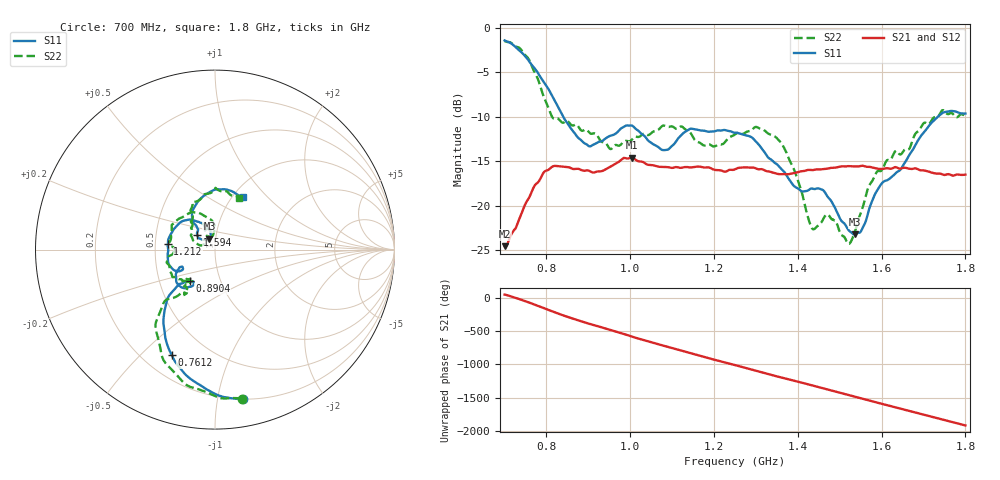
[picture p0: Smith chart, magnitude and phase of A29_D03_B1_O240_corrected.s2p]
! Created with skrf 1.9.0 (http://scikit-rf.org).
# Hz S RI R 50.0
!freq ReS11 ImS11 ReS21 ImS21 ReS12 ImS12 ReS22 ImS22
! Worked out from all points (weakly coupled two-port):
!   1601 points, 700 MHz to 1.8 GHz, reference 50 ohm
!   highest |S21| = -14.59 dB at 1.005 GHz (marker M1); lowest = -24.6 dB at 701.4 MHz (marker M2)
!   lowest |S11| = -23.2 dB at 1.535 GHz (marker M3), VSWR 1.15, Z = 46.6 + j5.76 ohm
!   |S11| at or under -10 dB: 839.8 MHz to 1.734 GHz (894.6 MHz wide, 69.5 % of centre)
!   |S22| runs from -24.3 to -1.5 dB; largest |S21 - S12| = 0.0036
!   S11 on the Smith chart (normalised r, x): 700 MHz: 0.20, -1.19; 761.2 MHz: 0.32, -0.62; 890.4 MHz: 0.71, -0.26; 1.212 GHz: 0.58, +0.04; 1.594 GHz: 0.81, +0.13; 1.8 GHz: 1.11, +0.73
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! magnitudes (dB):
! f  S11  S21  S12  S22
! 700 MHz  -1.4  -24.5  -24.3  -1.5
! 701.4 MHz  -1.5  -24.6  -24.2  -1.5
! 761.2 MHz  -4.0  -18.8  -18.7  -3.9
! 814.1 MHz  -7.7  -15.6  -15.7  -10.1
! 883.6 MHz  -12.7  -16.0  -15.9  -11.6
! 890.4 MHz  -13.0  -16.1  -16.0  -11.5
! 953 MHz  -12.1  -15.6  -15.6  -13.6
! 1.005 GHz  -11.0  -14.6  -14.7  -12.5
! 1.067 GHz  -13.4  -15.6  -15.6  -11.5
! 1.212 GHz  -11.5  -16.0  -16.0  -13.1
! 1.25 GHz  -11.8  -15.9  -15.8  -12.0
! 1.302 GHz  -12.9  -15.8  -15.8  -11.2
! 1.356 GHz  -15.6  -16.5  -16.4  -12.7
! 1.394 GHz  -17.9  -16.3  -16.3  -16.4
! 1.434 GHz  -18.1  -16.0  -16.0  -22.5
! 1.471 GHz  -19.0  -15.8  -15.8  -21.0
! 1.52 GHz  -22.7  -15.6  -15.6  -24.3
! 1.535 GHz  -23.2  -15.6  -15.6  -23.1
! 1.594 GHz  -18.0  -15.9  -15.8  -16.1
! 1.617 GHz  -17.0  -15.8  -15.8  -14.9
! 1.738 GHz  -9.8  -16.4  -16.4  -9.8
! 1.8 GHz  -9.6  -16.5  -16.5  -10.0
